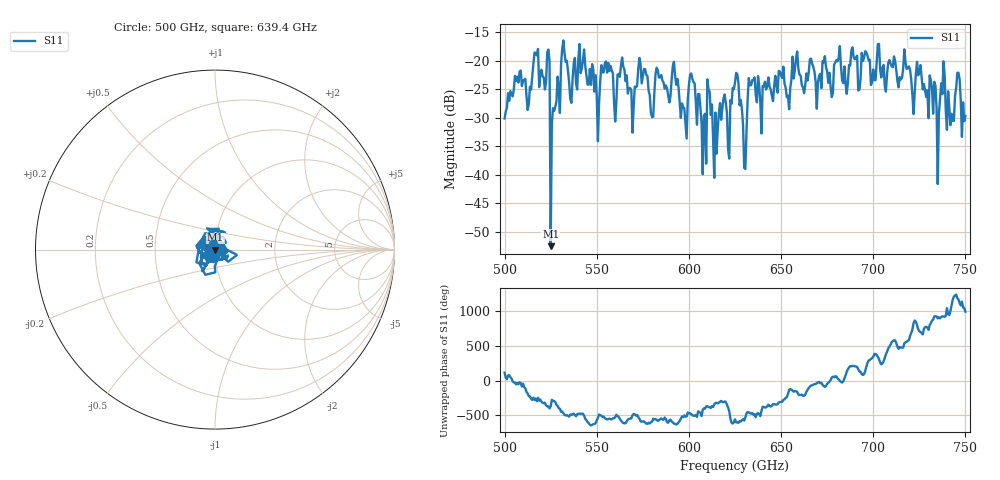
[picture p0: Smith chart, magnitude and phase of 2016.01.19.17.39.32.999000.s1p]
!Created with skrf (http://scikit-rf.org).
# GHz S RI R 50.0
!freq ReS11 ImS11
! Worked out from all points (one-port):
!   401 points, 500 GHz to 750 GHz, reference 50 ohm
!   lowest |S11| = -52.5 dB at 525 GHz (marker M1), VSWR 1.00, Z = 50.2 - j0.0499 ohm
!   |S11| at or under -10 dB: start of sweep to end of sweep
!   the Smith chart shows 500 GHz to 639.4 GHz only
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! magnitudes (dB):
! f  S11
! 500 GHz  -30.1
! 507.5 GHz  -23.8
! 513.1 GHz  -27.6
! 516.9 GHz  -18.6
! 523.1 GHz  -18.5
! 525 GHz  -52.5
! 526.2 GHz  -28.3
! 531.2 GHz  -17.9
! 550 GHz  -26.3
! 562.5 GHz  -22.8
! 568.8 GHz  -25.2
! 573.8 GHz  -20.5
! 579.4 GHz  -29.2
! 583.1 GHz  -21.7
! 593.8 GHz  -23.2
! 597.5 GHz  -28.4
! 601.9 GHz  -23.2
! 608.1 GHz  -29.7
! 611.2 GHz  -25.4
! 614.4 GHz  -29.1
! 625 GHz  -23.9
! 630 GHz  -38.8
! 633.8 GHz  -24.3
! 656.2 GHz  -19.3
! 687.5 GHz  -20.9
! 718.8 GHz  -21.3
! 735 GHz  -41.6
! 750 GHz  -29.7
